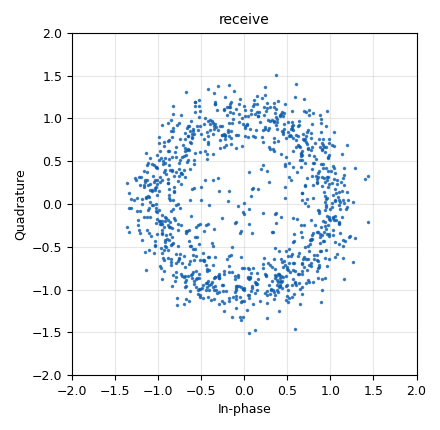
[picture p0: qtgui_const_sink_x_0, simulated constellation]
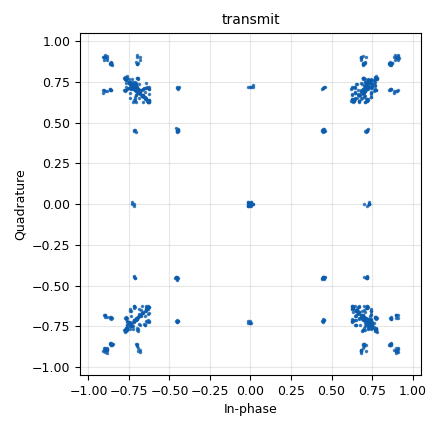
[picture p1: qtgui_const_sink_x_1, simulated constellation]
options:
  parameters:
    author: Barry Duggan
    category: Custom
    generate_options: qt_gui
    id: qpsk_stage2
    output_language: python
    title: qpsk_stage2
  states: {}

blocks:
- name: excess_bw
  id: variable
  parameters:
    value: '0.35'
  states: {}
- name: freq_offset
  id: variable_qtgui_range
  parameters:
    gui_hint: 0,2,1,1
    label: 'Channel: Frequency Offset'
    start: '-0.1'
    step: '0.001'
    stop: '0.1'
    value: '0.025'
    widget: counter
  states: {}
- name: noise_volt
  id: variable_qtgui_range
  parameters:
    label: 'Channel: Noise Voltage'
    start: '0'
    step: '0.01'
    stop: '1'
    value: '0.2'
    widget: counter
  states: {}
- name: qpsk
  id: variable_constellation_rect
  parameters:
    const_points: '[0.707+0.707j, -0.707+0.707j, -0.707-0.707j, 0.707-0.707j]'
    imag_sect: '2'
    real_sect: '2'
    rot_sym: '4'
    sym_map: '[0, 1, 2, 3]'
    w_imag_sect: '1'
    w_real_sect: '1'
  states: {}
- name: samp_rate
  id: variable
  parameters:
    value: '32000'
  states: {}
- name: sps
  id: variable
  parameters:
    value: '4'
  states: {}
- name: time_offset
  id: variable_qtgui_range
  parameters:
    gui_hint: 0,1,1,1
    label: 'Channel: Timing Offset'
    start: '0.999'
    step: '0.0001'
    stop: '1.001'
    value: '1.0005'
    widget: counter
  states: {}
- name: analog_random_source_x_0
  id: analog_random_source_x
  parameters:
    max: '3'
    min: '0'
    num_samps: '1000'
    repeat: 'True'
    type: byte
  states: {}
- name: blocks_throttle2_0
  id: blocks_throttle2
  parameters:
    samples_per_second: samp_rate
    type: complex
  states: {}
- name: channels_channel_model_0
  id: channels_channel_model
  parameters:
    comment: Epsilon is the time offset
    epsilon: time_offset
    freq_offset: freq_offset
    noise_voltage: noise_volt
    seed: '0'
    taps: '1'
  states: {}
- name: digital_constellation_decoder_cb_0
  id: digital_constellation_decoder_cb
  parameters:
    constellation: qpsk
  states: {}
- name: digital_constellation_modulator_0
  id: digital_constellation_modulator
  parameters:
    constellation: qpsk
    differential: 'True'
    excess_bw: excess_bw
    samples_per_symbol: sps
  states: {}
- name: fec_ber_bf_0
  id: fec_ber_bf
  parameters:
    test_mode: 'False'
  states: {}
- name: qtgui_const_sink_x_0
  id: qtgui_const_sink_x
  parameters:
    name: receive
    size: '1024'
    type: complex
  states: {}
- name: qtgui_const_sink_x_1
  id: qtgui_const_sink_x
  parameters:
    autoscale: 'True'
    grid: 'True'
    name: transmit
    size: '1024'
    type: complex
  states: {}
- name: qtgui_number_sink_0
  id: qtgui_number_sink
  parameters:
    graph_type: qtgui.NUM_GRAPH_HORIZ
    type: byte
  states: {}
- name: qtgui_number_sink_1
  id: qtgui_number_sink
  parameters:
    graph_type: qtgui.NUM_GRAPH_HORIZ
    type: byte
  states: {}
- name: qtgui_number_sink_2
  id: qtgui_number_sink
  parameters:
    graph_type: qtgui.NUM_GRAPH_NONE
    type: float
  states: {}

connections:
- [analog_random_source_x_0, '0', digital_constellation_modulator_0, '0']
- [analog_random_source_x_0, '0', fec_ber_bf_0, '0']
- [analog_random_source_x_0, '0', qtgui_number_sink_0, '0']
- [blocks_throttle2_0, '0', channels_channel_model_0, '0']
- [channels_channel_model_0, '0', digital_constellation_decoder_cb_0, '0']
- [channels_channel_model_0, '0', qtgui_const_sink_x_0, '0']
- [digital_constellation_decoder_cb_0, '0', fec_ber_bf_0, '1']
- [digital_constellation_decoder_cb_0, '0', qtgui_number_sink_1, '0']
- [digital_constellation_modulator_0, '0', blocks_throttle2_0, '0']
- [digital_constellation_modulator_0, '0', qtgui_const_sink_x_1, '0']
- [fec_ber_bf_0, '0', qtgui_number_sink_2, '0']

metadata:
  file_format: 1
  grc_version: 3.10.9.2
